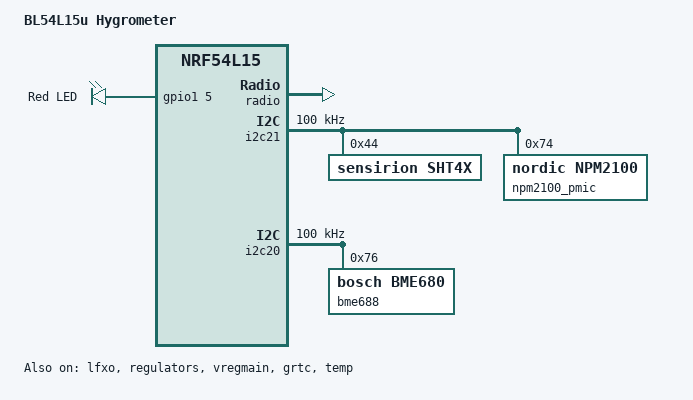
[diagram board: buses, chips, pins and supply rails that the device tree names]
/*
 * SPDX-License-Identifier: Apache-2.0
 *
 * BL54L15u Hygrometer - Custom nRF54L15 humidity sensor board
 *
 * Hardware:
 *   - nRF54L15 SoC (application core)
 *   - SHT4x humidity/temperature sensor on I2C21 (SDA=P1.14, SCL=P1.04)
 *   - BME688 + STCC4 (optional) on I2C20 (SDA=P1.06, SCL=P1.08)
 *   - nPM2100 PMIC on I2C21
 *   - No UART - debug via RTT
 *   - Internal RRAM only (no external flash)
 */

/dts-v1/;

#include <nordic/nrf54l15_cpuapp.dtsi>
#include <dt-bindings/regulator/npm2100.h>
#include "bl54l15u_hygrometer-pinctrl.dtsi"
#include "../bl54l15u_partitions.dtsi"

/ {
	model = "BL54L15u Hygrometer";
	compatible = "local,bl54l15u-hygrometer";

	chosen {
		zephyr,code-partition = &slot0_partition;
		zephyr,sram = &cpuapp_sram;
		zephyr,flash-controller = &rram_controller;
		zephyr,flash = &cpuapp_rram;
		zephyr,ieee802154 = &ieee802154;
	};

	/* Red LED on P1.05 */
	leds: leds {
		compatible = "gpio-leds";
		red_led: red_led {
			gpios = <&gpio1 5 GPIO_ACTIVE_HIGH>;
			label = "Red LED";
		};
	};

	aliases {
		led0 = &red_led;
		watchdog0 = &wdt31;
	};
};

/* Use full RRAM and SRAM - no FLPR core reservation */
&cpuapp_rram {
	reg = <0x0 DT_SIZE_K(1524)>;
};

&cpuapp_sram {
	status = "okay";
	reg = <0x20000000 DT_SIZE_K(256)>;
	ranges = <0x0 0x20000000 0x40000>;
};

/* 32.768 kHz crystal with ~9 pF load capacitance (2026v3 board) */
&lfxo {
	status = "okay";
	load-capacitors = "internal";
	load-capacitance-femtofarad = <9000>;
};

&clock {
	status = "okay";
};

/* BL54L15μ module contains a 32 MHz crystal (±15 ppm at room temperature)
 * but customer MUST set appropriate internal nRF54L15 capacitance from 4 pF to 17 pF in 0.25p increments */
&hfxo {
	load-capacitors = "internal";
	load-capacitance-femtofarad = <15000>;
};

/* Power regulators */
&regulators {
	status = "okay";
};

&vregmain {
	status = "okay";
	regulator-initial-mode = <NRF5X_REG_MODE_DCDC>;
};

/* Clock control */
&clock {
	status = "okay";
};

/* Radio for Thread/BLE */
&radio {
	status = "okay";
};

/* Global Real-Time Counter */
&grtc {
	owned-channels = <0 1 2 3 4 5 6 7 8 9 10 11>;
	child-owned-channels = <3 4 7 8 9 10 11>;
	status = "okay";
};

/* I2C21 for SHT4x humidity/temperature sensor and nPM2100 PMIC */
&i2c21 {
	status = "okay";
	clock-frequency = <I2C_BITRATE_STANDARD>;  /* 100kHz - more reliable without external pull-ups */
	pinctrl-0 = <&i2c21_default>;
	pinctrl-1 = <&i2c21_sleep>;
	pinctrl-names = "default", "sleep";

	sht4x: sht4x@44 {
		compatible = "sensirion,sht4x";
		reg = <0x44>;
		repeatability = <2>;
		status = "okay";
	};

	npm2100_pmic: pmic@74 {
		compatible = "nordic,npm2100";
		reg = <0x74>;

		regulators {
			compatible = "nordic,npm2100-regulator";

			npm2100_ldsw: LDOSW {};
		};

		npm2100_wdt: watchdog {
			compatible = "nordic,npm2100-wdt";
		};

		npm2100_vbat: vbat {
			compatible = "nordic,npm2100-vbat";
		};
	};
};

/* I2C20 for optional BME688 pressure sensor and STCC4 CO2 sensor */
&i2c20 {
	status = "okay";
	clock-frequency = <I2C_BITRATE_STANDARD>;
	pinctrl-0 = <&i2c20_default>;
	pinctrl-1 = <&i2c20_sleep>;
	pinctrl-2 = <&i2c20_off>;
	pinctrl-names = "default", "sleep", "off";

	bme688: bme680@76 {
		compatible = "bosch,bme680";
		reg = <0x76>;
		status = "okay";
	};
};

/* GPIO ports */
&gpio1 {
	status = "okay";
};

/* GPIOTE instances for GPIO interrupts/events */
&gpiote20 {
	status = "okay";
};

&gpiote30 {
	status = "okay";
};

/* Temperature sensor (required for radio temperature compensation) */
&temp {
	status = "okay";
};
